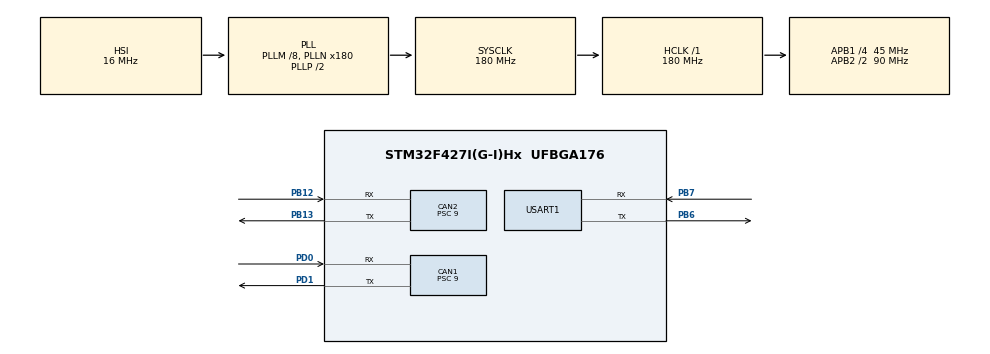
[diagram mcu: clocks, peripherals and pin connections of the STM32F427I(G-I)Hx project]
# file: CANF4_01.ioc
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CAN1.BS1=CAN_BS1_3TQ
CAN1.CalculateBaudRate=1000000
CAN1.CalculateTimeBit=1000
CAN1.CalculateTimeQuantum=200.0
CAN1.Prescaler=9
CAN2.BS1=CAN_BS1_3TQ
CAN2.CalculateBaudRate=1000000
CAN2.CalculateTimeBit=1000
CAN2.CalculateTimeQuantum=200.0
CAN2.Prescaler=9
Mcu.Family=STM32F4
Mcu.Name=STM32F427I(G-I)Hx
Mcu.Package=UFBGA176
NVIC.CAN1_RX0_IRQn=true\:0\:0\:false\:false\:true\:true\:true\:true
NVIC.CAN2_RX0_IRQn=true\:0\:0\:false\:false\:true\:true\:true\:true
NVIC.PriorityGroup=NVIC_PRIORITYGROUP_4
NVIC.USART1_IRQn=true\:0\:0\:false\:false\:true\:true\:true\:true
PA13.Mode=Serial_Wire
PA13.Signal=SYS_JTMS-SWDIO
PA14.Mode=Serial_Wire
PA14.Signal=SYS_JTCK-SWCLK
PB12.Mode=CAN_Activate
PB12.Signal=CAN2_RX
PB13.Mode=CAN_Activate
PB13.Signal=CAN2_TX
PB6.Mode=Asynchronous
PB6.Signal=USART1_TX
PB7.Mode=Asynchronous
PB7.Signal=USART1_RX
PD0.Mode=CAN_Activate
PD0.Signal=CAN1_RX
PD1.Mode=CAN_Activate
PD1.Signal=CAN1_TX
PH0/OSC_IN.Mode=HSE-External-Oscillator
PH0/OSC_IN.Signal=RCC_OSC_IN
PH1/OSC_OUT.Mode=HSE-External-Oscillator
PH1/OSC_OUT.Signal=RCC_OSC_OUT
ProjectManager.HeapSize=0x200
ProjectManager.StackSize=0x400
ProjectManager.TargetToolchain=Makefile
RCC.48MHZClocksFreq_Value=90000000
RCC.AHBFreq_Value=180000000
RCC.APB1CLKDivider=RCC_HCLK_DIV4
RCC.APB1Freq_Value=45000000
RCC.APB1TimFreq_Value=90000000
RCC.APB2CLKDivider=RCC_HCLK_DIV2
RCC.APB2Freq_Value=90000000
RCC.APB2TimFreq_Value=180000000
RCC.CortexFreq_Value=180000000
RCC.HCLKFreq_Value=180000000
RCC.HSE_VALUE=25000000
RCC.HSI_VALUE=16000000
RCC.LSE_VALUE=32768
RCC.PLLM=8
RCC.PLLN=180
RCC.SYSCLKFreq_VALUE=180000000
RCC.SYSCLKSource=RCC_SYSCLKSOURCE_PLLCLK
RCC.VCOOutputFreq_Value=360000000
USART1.VirtualMode=VM_ASYNC
board=custom

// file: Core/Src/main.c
/* USER CODE BEGIN Header */
/**
  ******************************************************************************
  * @file           : main.c
  * @brief          : Main program body
  ******************************************************************************
  * @attention
  *
  * Copyright (c) 2024 STMicroelectronics.
  * All rights reserved.
  *
  * This software is licensed under terms that can be found in the LICENSE file
  * in the root directory of this software component.
  * If no LICENSE file comes with this software, it is provided AS-IS.
  *
  ******************************************************************************
  */
/* USER CODE END Header */
#include "main.h"
#include "can.h"
#include "usart.h"
#include "gpio.h"

/* USER CODE BEGIN Includes */
#include "DJI.h"
#include "wtr_can.h"
#include "wtr_uart.h"
#include "string.h"
#include "Caculate.h"
/* USER CODE END Includes */

void SystemClock_Config(void);

int main(void)
{

  /* MCU Configuration--------------------------------------------------------*/

  /* Reset of all peripherals, Initializes the Flash interface and the Systick. */
  HAL_Init();

  /* Configure the system clock */
  SystemClock_Config();

  /* Initialize all configured peripherals */
  MX_GPIO_Init();
  MX_CAN1_Init();
  MX_USART1_UART_Init();
  MX_CAN2_Init();
  /* USER CODE BEGIN 2 */
  can1.CAN_Start();
  can2.CAN_Start();
  can1.CAN_Rx_Filter_Init();
  can2.CAN_Rx_Filter_Init();
  can1.CAN_Interrupt_Init();
  can2.CAN_Interrupt_Init();
  /* USER CODE END 2 */

  /* Infinite loop */
  while (1)
  {

    /* USER CODE BEGIN 3 */
    int j=0;
    for(j=0;j<8;j++)
    {
      speedServo(500,&hDJI[j][0]);
    }

    CanTransmit_DJI_1234(can1, hDJI[0][0].speedPID.output, hDJI[1][0].speedPID.output, hDJI[2][0].speedPID.output, hDJI[3][0].speedPID.output);
    CanTransmit_DJI_5678(can1, hDJI[4][0].speedPID.output, hDJI[5][0].speedPID.output, hDJI[6][0].speedPID.output, hDJI[7][0].speedPID.output);
    CanTransmit_DJI_1234(can2, hDJI[0][1].speedPID.output, hDJI[1][1].speedPID.output, hDJI[2][1].speedPID.output, hDJI[3][1].speedPID.output);
    CanTransmit_DJI_5678(can2, hDJI[4][1].speedPID.output, hDJI[5][1].speedPID.output, hDJI[6][1].speedPID.output, hDJI[7][1].speedPID.output);
    HAL_Delay(2);
  /* USER CODE END 3 */
  }
}

void SystemClock_Config(void)
{
  RCC_OscInitTypeDef RCC_OscInitStruct = {0};
  RCC_ClkInitTypeDef RCC_ClkInitStruct = {0};

  /** Configure the main internal regulator output voltage
  */
  __HAL_RCC_PWR_CLK_ENABLE();
  __HAL_PWR_VOLTAGESCALING_CONFIG(PWR_REGULATOR_VOLTAGE_SCALE1);

  /** Initializes the RCC Oscillators according to the specified parameters
  * in the RCC_OscInitTypeDef structure.
  */
  RCC_OscInitStruct.OscillatorType = RCC_OSCILLATORTYPE_HSI;
  RCC_OscInitStruct.HSIState = RCC_HSI_ON;
  RCC_OscInitStruct.HSICalibrationValue = RCC_HSICALIBRATION_DEFAULT;
  RCC_OscInitStruct.PLL.PLLState = RCC_PLL_ON;
  RCC_OscInitStruct.PLL.PLLSource = RCC_PLLSOURCE_HSI;
  RCC_OscInitStruct.PLL.PLLM = 8;
  RCC_OscInitStruct.PLL.PLLN = 180;
  RCC_OscInitStruct.PLL.PLLP = RCC_PLLP_DIV2;
  RCC_OscInitStruct.PLL.PLLQ = 4;
  if (HAL_RCC_OscConfig(&RCC_OscInitStruct) != HAL_OK)
  {
    Error_Handler();
  }

  /** Activate the Over-Drive mode
  */
  if (HAL_PWREx_EnableOverDrive() != HAL_OK)
  {
    Error_Handler();
  }

  /** Initializes the CPU, AHB and APB buses clocks
  */
  RCC_ClkInitStruct.ClockType = RCC_CLOCKTYPE_HCLK|RCC_CLOCKTYPE_SYSCLK
                              |RCC_CLOCKTYPE_PCLK1|RCC_CLOCKTYPE_PCLK2;
  RCC_ClkInitStruct.SYSCLKSource = RCC_SYSCLKSOURCE_PLLCLK;
  RCC_ClkInitStruct.AHBCLKDivider = RCC_SYSCLK_DIV1;
  RCC_ClkInitStruct.APB1CLKDivider = RCC_HCLK_DIV4;
  RCC_ClkInitStruct.APB2CLKDivider = RCC_HCLK_DIV2;

  if (HAL_RCC_ClockConfig(&RCC_ClkInitStruct, FLASH_LATENCY_5) != HAL_OK)
  {
    Error_Handler();
  }
}

/* USER CODE BEGIN 4 */
void HAL_CAN_RxFifo0MsgPendingCallback(CAN_HandleTypeDef *hcan)
{
    if (hcan->Instance == hcan1.Instance) {
        if (HAL_CAN_GetRxMessage(hcan, CAN_RX_FIFO0, &hcan1_rx, can1_rxdata) != HAL_OK) {
            Error_Handler();
        }
        memcpy((uint8_t *)can1.rx_MSG.buffer, can1_rxdata, 8); // 保存CAN报文的内�?         �?&hcan1_rx接收到的信息都传给CAN_HANDLER结构�?
        can1.rx_MSG.id  = hcan1_rx.StdId;                      // 保存CAN报文的ID
        can1.rx_MSG.len = hcan1_rx.DLC;                        // 保存CAN报文的内容长�?
        /* Can message Decode */
        if (hcan1_rx.IDE == CAN_ID_STD) {
            DJI_CanMsgDecode(1, can1.rx_MSG.id, (uint8_t *)can1.rx_MSG.buffer);  //把can1.rx_MSG.buffer的内容每五十次更新到电机结构体中；Decode--->update
        }
        if (hcan1_rx.IDE == CAN_ID_EXT) {
            // vesc反馈关掉这里就不会有消息
            ;
            ;
        }
    }
#if (USE_CAN2 == 1)
    else if (hcan->Instance == hcan2.Instance) {
        if (HAL_CAN_GetRxMessage(hcan, CAN_RX_FIFO0, &hcan2_rx, can2_rxdata) != HAL_OK) {
            Error_Handler();
        }
        memcpy((uint8_t *)can2.rx_MSG.buffer, can2_rxdata, 8); // 保存CAN报文的内�?
        can2.rx_MSG.id  = hcan2_rx.StdId;                      // 保存CAN报文的ID
        can2.rx_MSG.len = hcan2_rx.DLC;                        // 保存CAN报文的内容长�?
        /* Can message Decode */
        if (hcan2_rx.IDE == CAN_ID_STD) {
            DJI_CanMsgDecode(2, can2.rx_MSG.id, (uint8_t *)can2.rx_MSG.buffer);

        }
        if (hcan2_rx.IDE == CAN_ID_EXT) {
            // vesc反馈关掉这里就不会有消息
            ;
            ;
        }
    }
#endif
}
/* USER CODE END 4 */

void Error_Handler(void)
{
  __disable_irq();
  while (1)
  {
  }
}
